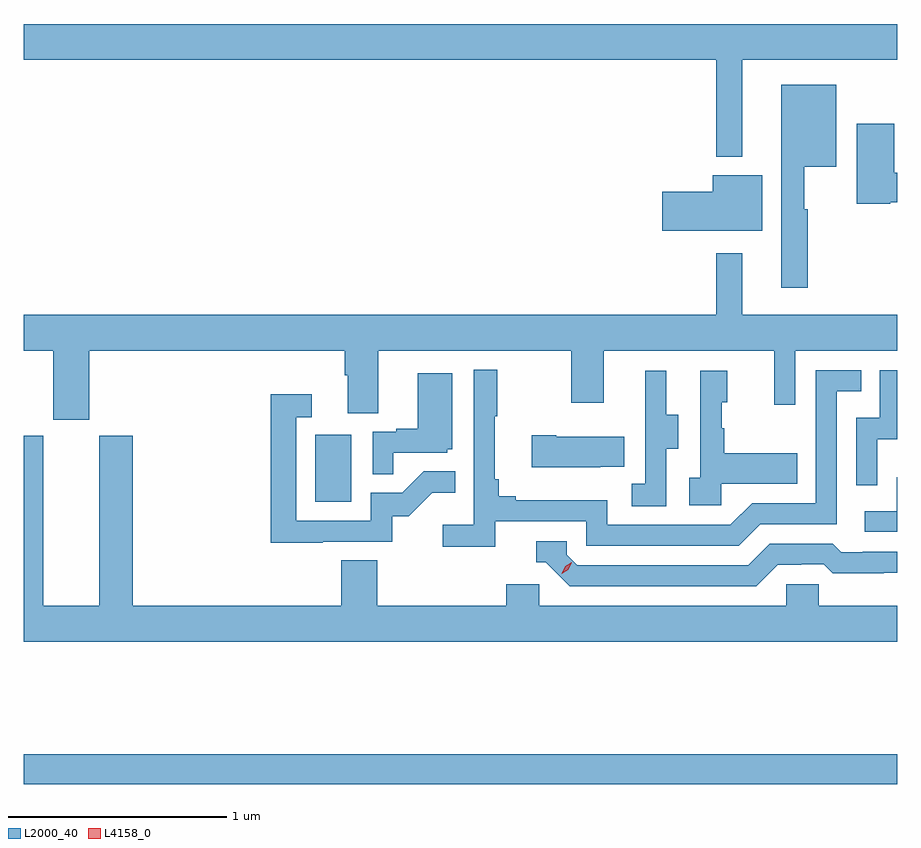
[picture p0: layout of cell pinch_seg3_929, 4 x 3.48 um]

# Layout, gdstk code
import gdstk
lib = gdstk.Library(unit=1e-6, precision=1e-09)
def R(c, l, rs):  # rectangles x0, y0, x1, y1
    for r in rs: c.add(gdstk.rectangle(r[:2], r[2:], *l))
def P(c, l, *ps):  # polygons
    for p in ps: c.add(gdstk.Polygon(p, *l))
L2000_40 = (2000, 40)
L4158_0 = (4158, 0)

pinch_seg3_929 = lib.new_cell('pinch_seg3_929')
R(pinch_seg3_929, L2000_40, [(877.048,692.272,881.048,692.408), (878.384,693.564,878.548,693.871)])
P(pinch_seg3_929, L2000_40, [(880.339,695.588),(881.048,695.588),(881.048,695.752),(877.048,695.752),(877.048,695.588),(880.218,695.588),(880.218,695.144),(880.339,695.144)],
  [(880.639,694.903),(880.621,694.903),(880.621,695.099),(880.768,695.099),(880.768,695.473),(880.517,695.473),(880.517,694.545),(880.639,694.545)],
  [(881.016,694.936),(881.048,694.936),(881.048,695.072),(881.033,695.072),(881.033,695.296),(880.862,695.296),(880.862,694.928),(881.016,694.928)],
  [(880.429,695.059),(880.202,695.059),(880.202,694.985),(879.972,694.985),(879.972,694.805),(880.429,694.805)],
  [(877.348,694.256),(878.519,694.256),(878.519,694.144),(878.531,694.144),(878.531,693.97),(878.671,693.97),(878.671,694.256),(879.556,694.256),(879.556,694.017),(879.703,694.017),(879.703,694.256),(880.484,694.256),(880.484,694.008),(880.581,694.008),(880.581,694.256),(881.048,694.256),(881.048,694.42),(880.339,694.42),(880.339,694.702),(880.218,694.702),(880.218,694.42),(877.048,694.42),(877.048,694.256),(877.184,694.256),(877.184,693.939),(877.348,693.939)],
  [(879.206,693.474),(879.624,693.474),(879.624,693.363),(880.321,693.363),(880.42,693.462),(880.77,693.462),(880.77,694.071),(880.883,694.071),(880.883,694.167),(880.674,694.167),(880.674,693.558),(880.383,693.558),(880.284,693.459),(879.72,693.459),(879.72,693.571),(879.301,693.571),(879.301,693.59),(879.224,693.59),(879.224,693.667),(879.205,693.667),(879.205,693.955),(879.217,693.955),(879.217,694.168),(879.108,694.168),(879.108,693.46),(878.967,693.46),(878.967,693.358),(879.206,693.358)],
  [(880.956,693.851),(881.048,693.851),(881.048,694.167),(880.968,694.167),(880.968,693.948),(880.86,693.948),(880.86,693.639),(880.956,693.639)],
  [(879.99,693.808),(880.045,693.808),(880.045,693.963),(879.991,693.963),(879.991,694.165),(879.893,694.165),(879.893,693.951),(879.894,693.951),(879.894,693.647),(879.831,693.647),(879.831,693.544),(879.99,693.544)],
  [(880.242,693.647),(880.589,693.647),(880.589,693.787),(880.255,693.787),(880.255,693.902),(880.245,693.902),(880.245,694.02),(880.27,694.02),(880.27,694.165),(880.146,694.165),(880.146,693.674),(880.095,693.674),(880.095,693.549),(880.242,693.549)],
  [(878.741,693.789),(878.988,693.789),(878.988,693.804),(879.01,693.804),(879.01,694.153),(878.852,694.153),(878.852,693.898),(878.753,693.898),(878.753,693.885),(878.646,693.885),(878.646,693.691),(878.741,693.691)],
  [(878.417,693.381),(878.736,693.381),(878.736,693.498),(878.812,693.498),(878.919,693.605),(879.023,693.605),(879.023,693.704),(878.879,693.704),(878.781,693.606),(878.637,693.606),(878.637,693.477),(878.295,693.477),(878.295,693.951),(878.368,693.951),(878.368,694.057),(878.179,694.057),(878.179,693.376),(878.417,693.376)],
  [(879.689,693.725),(879.797,693.725),(879.797,693.862),(879.487,693.862),(879.487,693.87),(879.375,693.87),(879.375,693.722),(879.689,693.722)],
  [(881.048,693.088),(880.689,693.088),(880.689,693.186),(880.539,693.186),(880.539,693.088),(879.408,693.088),(879.408,693.186),(879.257,693.186),(879.257,693.088),(878.666,693.088),(878.666,693.296),(878.501,693.296),(878.501,693.088),(877.547,693.088),(877.547,693.867),(877.394,693.867),(877.394,693.088),(877.138,693.088),(877.138,693.867),(877.048,693.867),(877.048,692.924),(881.048,692.924)],
  [(881.048,693.676),(881.046,693.676),(881.046,693.522),(880.899,693.522),(880.899,693.426),(881.048,693.426)],
  [(880.501,693.276),(880.608,693.276),(880.608,693.279),(880.711,693.279),(880.753,693.237),(880.986,693.237),(880.986,693.239),(881.048,693.239),(881.048,693.336),(880.891,693.336),(880.891,693.333),(880.792,693.333),(880.753,693.372),(880.464,693.372),(880.365,693.273),(879.582,693.273),(879.534,693.321),(879.534,693.384),(879.395,693.384),(879.395,693.288),(879.438,693.288),(879.549,693.177),(880.402,693.177)])
P(pinch_seg3_929, L4158_0, [(879.511,693.235),(879.511,693.235),(879.527,693.268),(879.557,693.287),(879.558,693.287),(879.558,693.287),(879.542,693.254),(879.511,693.235)])

lib.write_gds('pinch_seg3_929.gds')
